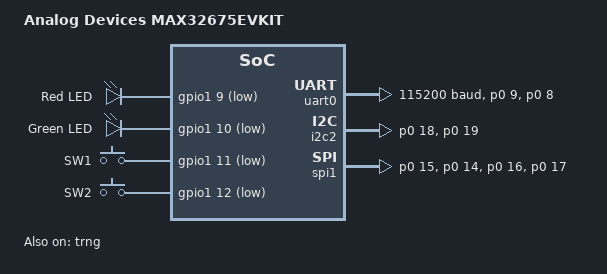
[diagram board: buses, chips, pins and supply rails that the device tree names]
/*
 * Copyright (c) 2024 Analog Devices, Inc.
 *
 * SPDX-License-Identifier: Apache-2.0
 */

/dts-v1/;

#include <adi/max32/max32675.dtsi>
#include <adi/max32/max32675-pinctrl.dtsi>
#include <zephyr/dt-bindings/gpio/adi-max32-gpio.h>
#include <zephyr/dt-bindings/input/input-event-codes.h>

/ {
	model = "Analog Devices MAX32675EVKIT";
	compatible = "adi,max32675evkit";

	chosen {
		zephyr,console = &uart0;
		zephyr,shell-uart = &uart0;
		zephyr,sram = &sram3;
		zephyr,flash = &flash0;
	};

	leds {
		compatible = "gpio-leds";
		led1: led_1 {
			gpios = <&gpio1 9 GPIO_ACTIVE_LOW>;
			label = "Red LED";
		};
		led2: led_2 {
			gpios = <&gpio1 10 GPIO_ACTIVE_LOW>;
			label = "Green LED";
		};
	};

	buttons {
		compatible = "gpio-keys";
		pb1: pb1 {
			gpios = <&gpio1 11 (GPIO_PULL_UP | GPIO_ACTIVE_LOW
						| MAX32_GPIO_VSEL_VDDIOH)>;
			label = "SW1";
			zephyr,code = <INPUT_KEY_0>;
		};
		pb2: pb2 {
			gpios = <&gpio1 12 (GPIO_PULL_UP | GPIO_ACTIVE_LOW
						| MAX32_GPIO_VSEL_VDDIOH)>;
			label = "SW2";
			zephyr,code = <INPUT_KEY_1>;
		};
	};

	/* These aliases are provided for compatibility with samples */
	aliases {
		led0 = &led1;
		led1 = &led2;
		sw0 = &pb1;
		sw1 = &pb2;
	};
};

&uart0 {
	pinctrl-0 = <&uart0a_tx_p0_9 &uart0a_rx_p0_8>;
	pinctrl-names = "default";
	current-speed = <115200>;
	data-bits = <8>;
	parity = "none";
	status = "okay";
};

&clk_ipo {
	status = "okay";
};

&dma0 {
	status = "okay";
};

&gpio0 {
	status = "okay";
};

&gpio1 {
	status = "okay";
};

&i2c2 {
	status = "okay";
	pinctrl-0 = <&i2c2a_scl_p0_18 &i2c2a_sda_p0_19>;
	pinctrl-names = "default";
};

&trng {
	status = "okay";
};

&spi1 {
	status = "okay";
	pinctrl-0 = <&spi1a_mosi_p0_15 &spi1a_miso_p0_14 &spi1a_sck_p0_16 &spi1a_ss0_p0_17>;
	pinctrl-names = "default";
};
